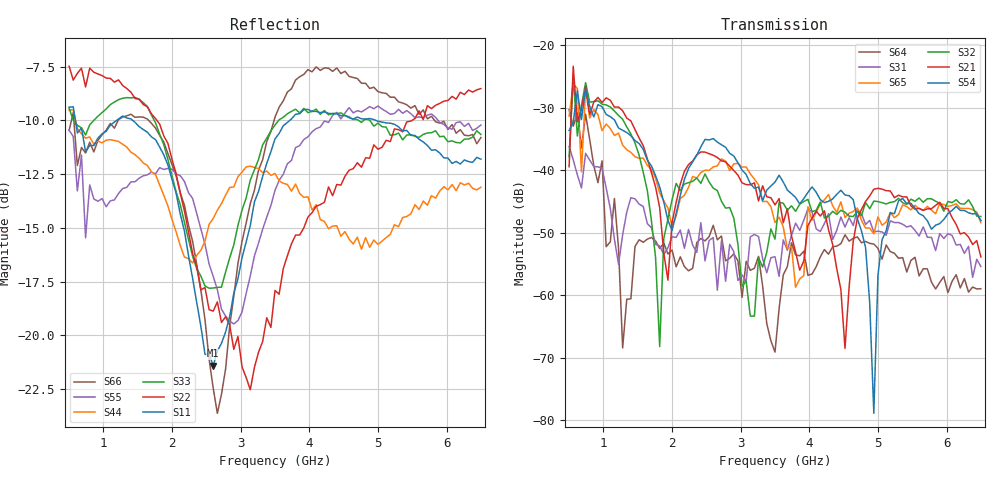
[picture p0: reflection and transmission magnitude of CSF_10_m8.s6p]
!Keysight Technologies,M9804A,MY58100912,A.14.10.03
!Date: Thursday, April 27, 2023 10:28:33
!Correction: S11(C  6-Port  )
!S12(C  6-Port  )
!S13(C  6-Port  )
!S14(C  6-Port  )
!S15(C  6-Port  )
!S16(C  6-Port  )
!S21(C  6-Port  )
!S22(C  6-Port  )
!S23(C  6-Port  )
!S24(C  6-Port  )
!S25(C  6-Port  )
!S26(C  6-Port  )
!S31(C  6-Port  )
!S32(C  6-Port  )
!S33(C  6-Port  )
!S34(C  6-Port  )
!S35(C  6-Port  )
!S36(C  6-Port  )
!S41(C  6-Port  )
!S42(C  6-Port  )
!S43(C  6-Port  )
!S44(C  6-Port  )
!S45(C  6-Port  )
!S46(C  6-Port  )
!S51(C  6-Port  )
!S52(C  6-Port  )
!S53(C  6-Port  )
!S54(C  6-Port  )
!S55(C  6-Port  )
!S56(C  6-Port  )
!S61(C  6-Port  )
!S62(C  6-Port  )
!S63(C  6-Port  )
!S64(C  6-Port  )
!S65(C  6-Port  )
!S66(C  6-Port  )
!S6P File: Measurement: :
# Hz S  RI  R 50
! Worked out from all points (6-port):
!   101 points, 500 MHz to 6.5 GHz, reference 50 ohm
!   strongest paths, dB at 500 MHz, 2 GHz, 3.5 GHz, 5 GHz, 6.5 GHz:
!     S54: -33.6, -49.6, -41.9, -56.9, -48.0
!     S21: -39.4, -48.4, -45.5, -42.9, -53.9
!     S32: -37.8, -44.7, -51.0, -45.0, -47.4
!     S65: -31.3, -49.1, -48.4, -47.5, -48.4
!     S31: -36.2, -50.6, -53.8, -49.7, -55.4
!     S64: -30.3, -52.8, -69.1, -52.5, -59.0
!   lowest |S11| = -21.4 dB at 2.6 GHz (marker M1), VSWR 1.19, Z = 42.5 + j2.19 ohm
!   |S11| at or under -10 dB: 591.1 MHz to 1.193 GHz (601.5 MHz wide, 67.4 % of centre); 1.426 GHz to 3.715 GHz (2.289 GHz wide, 89 % of centre); 4.969 GHz to end of sweep
